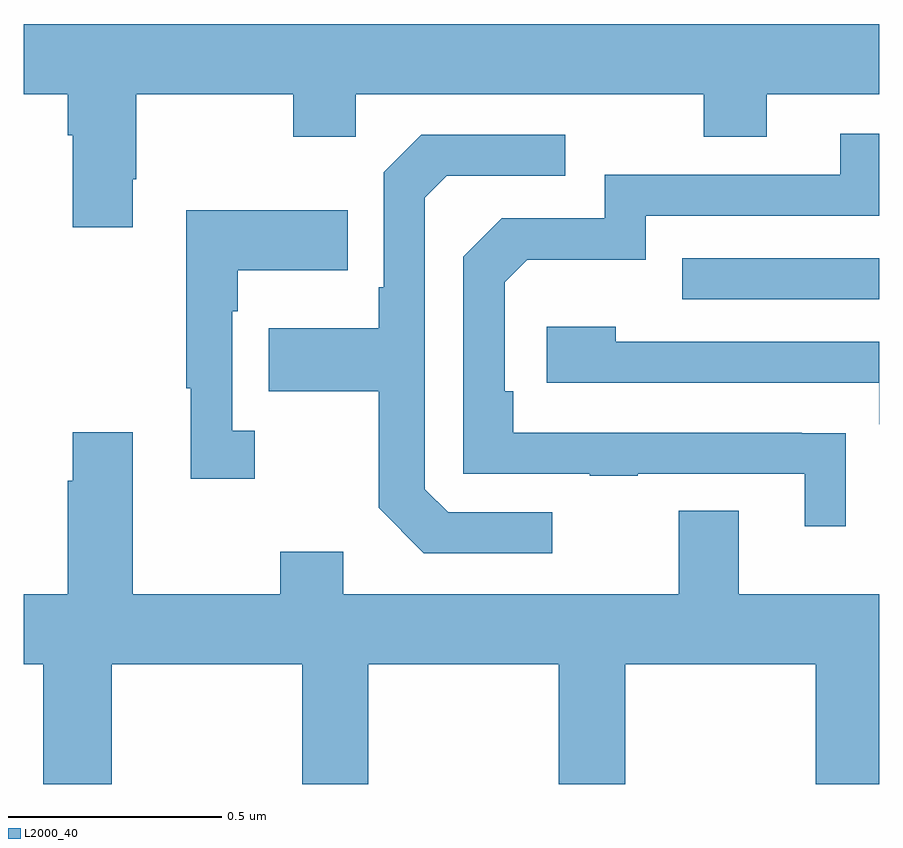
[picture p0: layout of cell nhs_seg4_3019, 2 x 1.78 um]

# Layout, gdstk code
import gdstk
lib = gdstk.Library(unit=1e-6, precision=1e-09)
def R(c, l, rs):  # rectangles x0, y0, x1, y1
    for r in rs: c.add(gdstk.rectangle(r[:2], r[2:], *l))
def P(c, l, *ps):  # polygons
    for p in ps: c.add(gdstk.Polygon(p, *l))
L2000_40 = (2000, 40)

nhs_seg4_3019 = lib.new_cell('nhs_seg4_3019')
R(nhs_seg4_3019, L2000_40, [(149.539,771.033,150,771.129)])
P(nhs_seg4_3019, L2000_40, [(148.255,771.313),(148.263,771.313),(148.263,771.512),(148.63,771.512),(148.63,771.413),(148.776,771.413),(148.776,771.512),(149.59,771.512),(149.59,771.413),(149.737,771.413),(149.737,771.512),(150,771.512),(150,771.676),(148,771.676),(148,771.512),(148.103,771.512),(148.103,771.416),(148.115,771.416),(148.115,771.201),(148.255,771.201)],
  [(149.921,770.72),(149.819,770.72),(149.819,770.721),(149.144,770.721),(149.144,770.818),(149.124,770.818),(149.124,771.072),(149.177,771.125),(149.454,771.125),(149.454,771.228),(150,771.228),(150,771.42),(149.909,771.42),(149.909,771.324),(149.358,771.324),(149.358,771.222),(149.118,771.222),(149.028,771.132),(149.028,770.625),(149.323,770.625),(149.323,770.62),(149.435,770.62),(149.435,770.625),(149.825,770.625),(149.825,770.502),(149.921,770.502)],
  [(149.236,770.535),(148.992,770.535),(148.938,770.589),(148.938,771.27),(148.989,771.321),(149.266,771.321),(149.266,771.417),(148.929,771.417),(148.842,771.33),(148.842,771.061),(148.83,771.061),(148.83,770.965),(148.573,770.965),(148.573,770.818),(148.83,770.818),(148.83,770.545),(148.935,770.439),(149.236,770.439)],
  [(148.54,770.726),(148.488,770.726),(148.488,771.005),(148.501,771.005),(148.501,771.101),(148.757,771.101),(148.757,771.241),(148.38,771.241),(148.38,770.825),(148.391,770.825),(148.391,770.613),(148.54,770.613)],
  [(150,770.934),(149.384,770.934),(149.384,770.968),(149.223,770.968),(149.223,770.838),(149.999,770.838),(149.999,770.741),(150,770.741)],
  [(148.206,770.18),(148.651,770.18),(148.651,769.9),(148.806,769.9),(148.806,770.18),(149.251,770.18),(149.251,769.9),(149.406,769.9),(149.406,770.18),(149.851,770.18),(149.851,769.9),(150,769.9),(150,770.344),(149.671,770.344),(149.671,770.539),(149.531,770.539),(149.531,770.344),(148.747,770.344),(148.747,770.443),(148.6,770.443),(148.6,770.344),(148.255,770.344),(148.255,770.722),(148.115,770.722),(148.115,770.609),(148.103,770.609),(148.103,770.344),(148,770.344),(148,770.18),(148.046,770.18),(148.046,769.9),(148.206,769.9)])

lib.write_gds('nhs_seg4_3019.gds')
